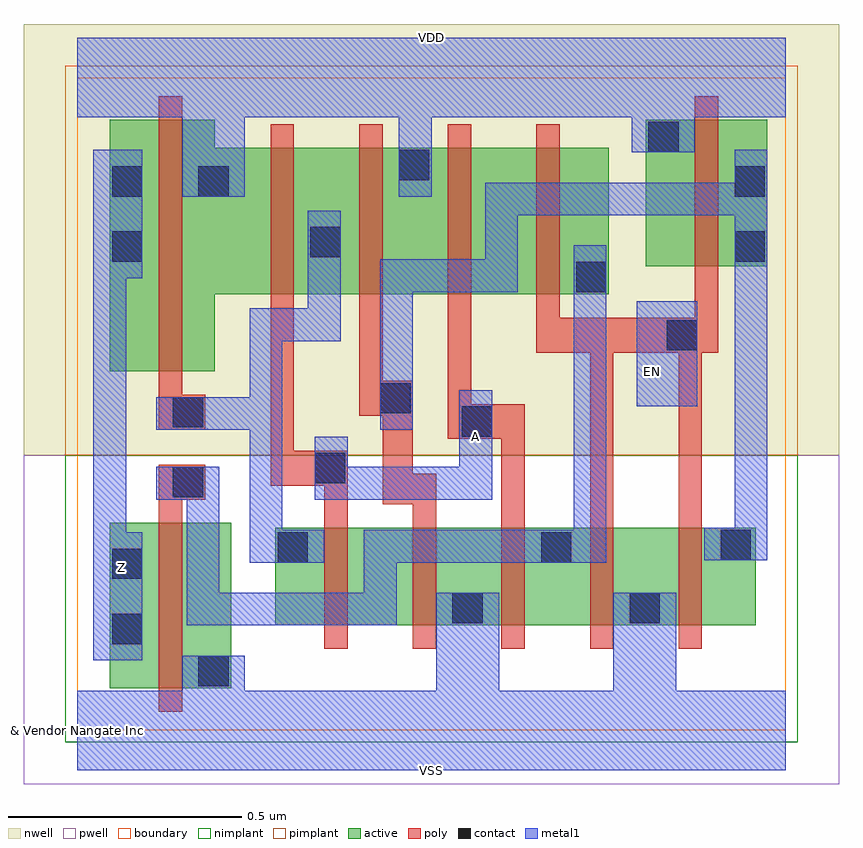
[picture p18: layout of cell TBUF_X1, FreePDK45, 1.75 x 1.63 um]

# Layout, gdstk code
import gdstk
lib = gdstk.Library(unit=1e-6, precision=1e-10)
def R(c, l, rs):  # rectangles x0, y0, x1, y1
    for r in rs: c.add(gdstk.rectangle(r[:2], r[2:], *l))
def P(c, l, *ps):  # polygons
    for p in ps: c.add(gdstk.Polygon(p, *l))
active = (1, 0)
pwell = (2, 0)
nwell = (3, 0)
nimplant = (4, 0)
pimplant = (5, 0)
poly = (9, 0)
contact = (10, 0)
metal1 = (11, 0)
boundary = (235, 0)

tbuf_x1 = lib.new_cell('TBUF_X1')
R(tbuf_x1, active, [(0.07,0.09,0.33,0.445), (0.425,0.225,1.455,0.435), (1.22,0.995,1.48,1.31)])
P(tbuf_x1, active, [(0.07,0.77),(0.07,1.31),(0.295,1.31),(0.295,1.25),(1.14,1.25),(1.14,0.935),(0.295,0.935),(0.295,0.77)])
R(tbuf_x1, pwell, [(-0.115,-0.115,1.635,0.59)])
R(tbuf_x1, nwell, [(-0.115,0.59,1.635,1.515)])
R(tbuf_x1, nimplant, [(-0.025,-0.025,1.545,0.59)])
R(tbuf_x1, pimplant, [(-0.025,0.59,1.545,1.425)])
P(tbuf_x1, poly, [(0.175,0.04),(0.175,0.57),(0.275,0.57),(0.275,0.495),(0.225,0.495),(0.225,0.04)],
  [(0.175,0.645),(0.175,1.36),(0.225,1.36),(0.225,0.72),(0.275,0.72),(0.275,0.645)],
  [(0.53,0.175),(0.53,0.525),(0.415,0.525),(0.415,1.3),(0.465,1.3),(0.465,0.6),(0.58,0.6),(0.58,0.175)],
  [(0.72,0.175),(0.72,0.485),(0.655,0.485),(0.655,0.675),(0.605,0.675),(0.605,1.3),(0.655,1.3),(0.655,0.75),(0.72,0.75),(0.72,0.55),(0.77,0.55),(0.77,0.175)],
  [(0.91,0.175),(0.91,0.625),(0.795,0.625),(0.795,1.3),(0.845,1.3),(0.845,0.7),(0.96,0.7),(0.96,0.175)],
  [(1.1,0.175),(1.1,0.81),(0.985,0.81),(0.985,1.3),(1.035,1.3),(1.035,0.885),(1.325,0.885),(1.325,1.36),(1.375,1.36),(1.375,0.81),(1.34,0.81),(1.34,0.175),(1.29,0.175),(1.29,0.81),(1.15,0.81),(1.15,0.175)])
R(tbuf_x1, contact, [(0.26,0.095,0.325,0.16), (0.075,0.185,0.14,0.25), (0.805,0.23,0.87,0.295), (1.185,0.23,1.25,0.295), (0.075,0.325,0.14,0.39), (0.43,0.36,0.495,0.425), (0.995,0.36,1.06,0.425), (1.38,0.365,1.445,0.43), (0.205,0.5,0.27,0.565), (0.51,0.53,0.575,0.595), (0.825,0.63,0.89,0.695), (0.205,0.65,0.27,0.715), (0.65,0.68,0.715,0.745), (1.265,0.815,1.33,0.88), (1.07,0.94,1.135,1.005), (0.075,1.005,0.14,1.07), (1.41,1.005,1.475,1.07), (0.5,1.015,0.565,1.08), (0.075,1.145,0.14,1.21), (0.26,1.145,0.325,1.21), (1.41,1.145,1.475,1.21), (0.69,1.18,0.755,1.245), (1.225,1.24,1.29,1.305)])
R(tbuf_x1, metal1, [(1.2,0.695,1.33,0.92)])
P(tbuf_x1, metal1, [(0.035,0.15),(0.035,1.245),(0.14,1.245),(0.14,0.97),(0.105,0.97),(0.105,0.425),(0.14,0.425),(0.14,0.15)],
  [(0.37,0.36),(0.37,0.645),(0.17,0.645),(0.17,0.715),(0.37,0.715),(0.37,0.905),(0.495,0.905),(0.495,1.115),(0.565,1.115),(0.565,0.835),(0.44,0.835),(0.44,0.43),(0.53,0.43),(0.53,0.36)],
  [(0.51,0.495),(0.51,0.63),(0.58,0.63),(0.58,0.565),(0.82,0.565),(0.82,0.73),(0.89,0.73),(0.89,0.495)],
  [(0.235,0.225),(0.235,0.495),(0.17,0.495),(0.17,0.565),(0.305,0.565),(0.305,0.295),(0.615,0.295),(0.615,0.43),(1.065,0.43),(1.065,1.04),(1.135,1.04),(1.135,0.36),(0.685,0.36),(0.685,0.225)],
  [(1.345,0.365),(1.345,0.435),(1.41,0.435),(1.41,1.105),(0.945,1.105),(0.945,0.94),(0.72,0.94),(0.72,0.645),(0.65,0.645),(0.65,1.01),(0.875,1.01),(0.875,1.175),(1.41,1.175),(1.41,1.245),(1.48,1.245),(1.48,0.365)],
  [(0,-0.085),(0,0.085),(0.225,0.085),(0.225,0.16),(0.36,0.16),(0.36,0.085),(0.77,0.085),(0.77,0.295),(0.905,0.295),(0.905,0.085),(1.15,0.085),(1.15,0.295),(1.285,0.295),(1.285,0.085),(1.52,0.085),(1.52,-0.085)],
  [(0.225,1.145),(0.225,1.315),(0,1.315),(0,1.485),(1.52,1.485),(1.52,1.315),(1.325,1.315),(1.325,1.24),(1.19,1.24),(1.19,1.315),(0.76,1.315),(0.76,1.145),(0.69,1.145),(0.69,1.315),(0.36,1.315),(0.36,1.145)])
R(tbuf_x1, boundary, [(0,0,1.52,1.4)])
tbuf_x1.add(gdstk.Label('A', (0.855,0.63), layer=11, texttype=0))
tbuf_x1.add(gdstk.Label('EN', (1.235,0.77), layer=11, texttype=0))
tbuf_x1.add(gdstk.Label('VDD', (0.76,1.485), layer=11, texttype=0))
tbuf_x1.add(gdstk.Label('VSS', (0.76,-0.085), layer=11, texttype=0))
tbuf_x1.add(gdstk.Label('Z', (0.095,0.35), layer=11, texttype=0))
tbuf_x1.add(gdstk.Label('& Vendor Nangate Inc', (0,0), layer=63, texttype=63))
tbuf_x1.add(gdstk.Label('& Product Open Cell Library', (0,0), layer=63, texttype=63))
tbuf_x1.add(gdstk.Label('& Version 2010_12', (0,0), layer=63, texttype=63))
tbuf_x1.add(gdstk.Label('& Instance TBUF_X1', (0,0), layer=63, texttype=63))

lib.write_gds('TBUF_X1.gds')
